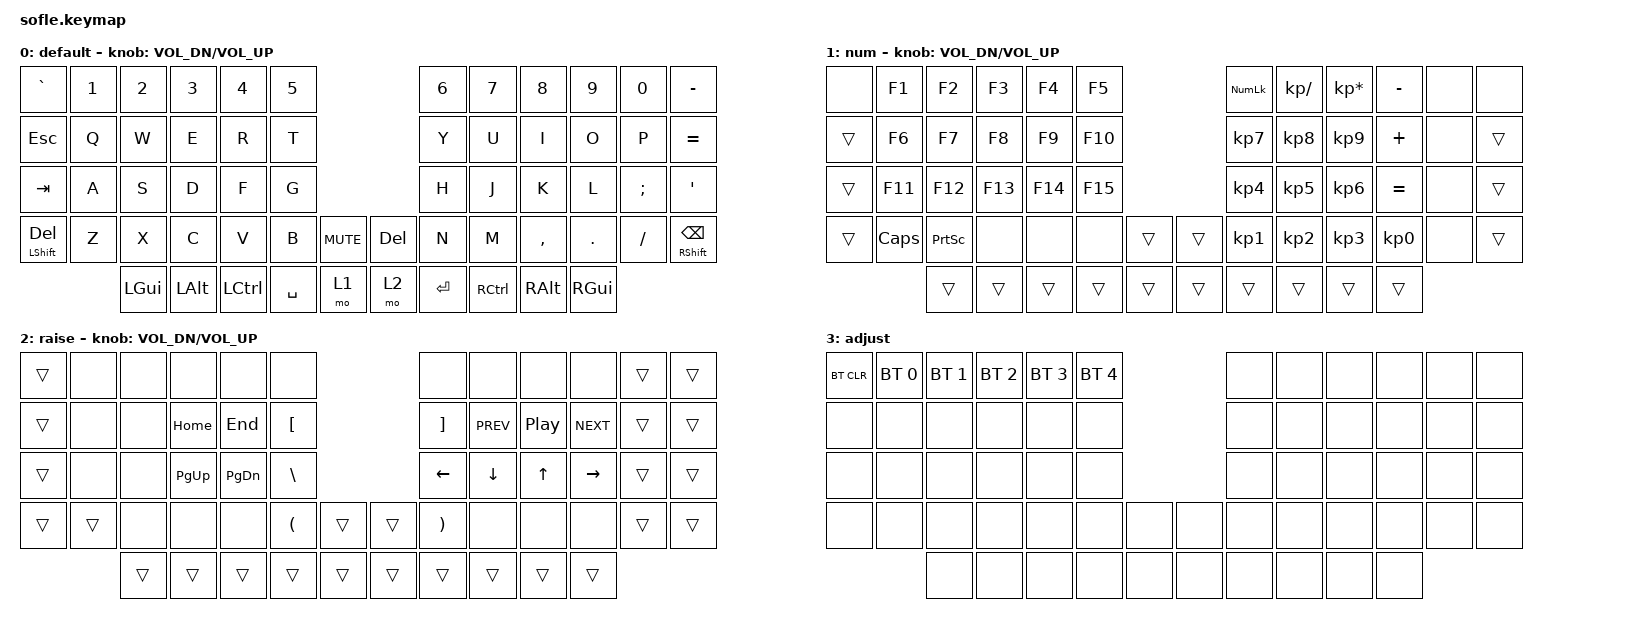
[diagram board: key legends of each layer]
/*
 * Copyright (c) 2020 The ZMK Contributors
 *
 * SPDX-License-Identifier: MIT
 */

#include <behaviors.dtsi>
#include <dt-bindings/zmk/bt.h>
#include <dt-bindings/zmk/keys.h>

#define BASE 0
#define LOWER 1
#define RAISE 2
#define ADJUST 3

/ {
    // Activate ADJUST layer by pressing raise and lower

    conditional_layers {
        compatible = "zmk,conditional-layers";

        adjust_layer {
            if-layers = <LOWER RAISE>;
            then-layer = <ADJUST>;
        };
    };

    combos {
        compatible = "zmk,combos";

        l_br {
            bindings = <&kp LEFT_BRACKET>;
            key-positions = <16 17>;
        };

        r_br {
            bindings = <&kp RIGHT_BRACKET>;
            key-positions = <18 19>;
        };

        l_pr {
            bindings = <&kp LEFT_PARENTHESIS>;
            key-positions = <28 29>;
        };

        r_pr {
            bindings = <&kp RIGHT_PARENTHESIS>;
            key-positions = <30 31>;
        };
    };

    keymap {
        compatible = "zmk,keymap";

        base_layer {
            display-name = "default";

            // ------------------------------------------------------------------------------------------------------------
            // |   `   |  1  |  2  |  3   |  4   |  5   |                   |  6   |  7    |  8    |  9   |   0   | DEL   |
            // |  ESC  |  Q  |  W  |  E   |  R   |  T   |                   |  Y   |  U    |  I    |  O   |   P   | BKSPC |
            // |  TAB  |  A  |  S  |  D   |  F   |  G   |                   |  H   |  J    |  K    |  L   |   ;   |   '   |
            // | SHIFT |  Z  |  X  |  C   |  V   |  B   |  MUTE  |  | PP    |  N   |  M    |  ,    |  .   |   /   | SHIFT |
            //               | GUI | ALT  | CTRL | LOWER|  ENTER |  | SPACE | RAISE| CTRL  | ALT   | GUI  |

            bindings = <
&kp GRAVE         &kp N1  &kp N2    &kp N3    &kp N4     &kp N5                               &kp N6     &kp N7     &kp N8     &kp N9    &kp N0    &kp MINUS
&kp ESC           &kp Q   &kp W     &kp E     &kp R      &kp T                                &kp Y      &kp U      &kp I      &kp O     &kp P     &kp EQUAL
&kp TAB           &kp A   &kp S     &kp D     &kp F      &kp G                                &kp H      &kp J      &kp K      &kp L     &kp SEMI  &kp SQT
&mt LSHFT DELETE  &kp Z   &kp X     &kp C     &kp V      &kp B      &kp C_MUTE    &kp DELETE  &kp N      &kp M      &kp COMMA  &kp DOT   &kp FSLH  &mt RSHFT BACKSPACE
                          &kp LGUI  &kp LALT  &kp LCTRL  &kp SPACE  &mo 1         &mo 2       &kp ENTER  &kp RCTRL  &kp RALT   &kp RGUI
            >;

            sensor-bindings = <&inc_dec_kp C_VOL_DN C_VOL_UP>;
        };

        num_layer {
            display-name = "num";

            // ------------------------------------------------------------------------------------------------------------
            // |       |  F1 |  F2 |  F3  |  F4  |  F5  |                   |  F6  |  F7   |  F8   |  F9  |  F10  |  F11  |
            // |   `   |  1  |  2  |  3   |  4   |  5   |                   |  6   |  7    |  8    |  9   |   0   |  F12  |
            // |       |  !  |  @  |  #   |  $   |  %   |                   |  ^   |  &    |  *    |  (   |   )   |   |   |
            // |       |  =  |  -  |  +   |  {   |  }   |        |  |       |  [   |  ]    |  ;    |  :   |   \   |       |
            //               |     |      |      |      |        |  |       |      |       |       |      |

            bindings = <
&none   &kp F1    &kp F2           &kp F3   &kp F4   &kp F5                     &kp KP_NUMLOCK  &kp KP_SLASH  &kp KP_MULTIPLY  &kp MINUS  &none  &none
&trans  &kp F6    &kp F7           &kp F8   &kp F9   &kp F10                    &kp KP_N7       &kp KP_N8     &kp KP_N9        &kp PLUS   &none  &trans
&trans  &kp F11   &kp F12          &kp F13  &kp F14  &kp F15                    &kp KP_N4       &kp KP_N5     &kp KP_N6        &kp EQUAL  &none  &trans
&trans  &kp CAPS  &kp PRINTSCREEN  &none    &none    &none    &trans    &trans  &kp KP_N1       &kp KP_N2     &kp KP_N3        &kp KP_N0  &none  &trans
                  &trans           &trans   &trans   &trans   &trans    &trans  &trans          &trans        &trans           &trans
            >;

            sensor-bindings = <&inc_dec_kp C_VOL_DN C_VOL_UP>;
        };

        raise_layer {
            display-name = "raise";

            // ------------------------------------------------------------------------------------------------------------
            // |       |      |      |       |       |      |                |      |      |       |      |       |       |
            // |       | INS  | PSCR | GUI   |       |      |                |      |      |       |      |       |       |
            // |       | ALT  | CTRL | SHIFT |       | CAPS |                |  <-  |  v   |   v   |  ->  |  DEL  | BKSPC |
            // |       | UNDO | CUT  | COPY  | PASTE |      |      |  |      |      |      |       |      |       |       |
            //                |      |       |       |      |      |  |      |      |      |       |      |

            bindings = <
&trans  &none   &none   &none        &none          &none                                   &none                  &none       &none             &none       &trans  &trans
&trans  &none   &none   &kp HOME     &kp END        &kp LEFT_BRACKET                        &kp RIGHT_BRACKET      &kp C_PREV  &kp C_PLAY_PAUSE  &kp C_NEXT  &trans  &trans
&trans  &none   &none   &kp PAGE_UP  &kp PAGE_DOWN  &kp BACKSLASH                           &kp LEFT               &kp DOWN    &kp UP            &kp RIGHT   &trans  &trans
&trans  &trans  &none   &none        &none          &kp LEFT_PARENTHESIS  &trans    &trans  &kp RIGHT_PARENTHESIS  &none       &none             &none       &trans  &trans
                &trans  &trans       &trans         &trans                &trans    &trans  &trans                 &trans      &trans            &trans
            >;

            sensor-bindings = <&inc_dec_kp C_VOL_DN C_VOL_UP>;
        };

        adjust_layer {
            // ------------------------------------------------------------------------------------------
            // | BTCLR | BT1 | BT2 | BT3 | BT4 | BT5 |              |     |     |     |     |     |     |
            // |       |     |     |     |     |     |              |     |     |     |     |     |     |
            // |       |     |     |     |     |     |              |     |     |     |     |     |     |
            // |       |     |     |     |     |     |     |  |     |     |     |     |     |     |     |
            //               |     |     |     |     |     |  |     |     |     |     |     |

            display-name = "adjust";
            bindings = <
&bt BT_CLR  &bt BT_SEL 0  &bt BT_SEL 1  &bt BT_SEL 2  &bt BT_SEL 3  &bt BT_SEL 4                  &none  &none  &none  &none  &none  &none
&none       &none         &none         &none         &none         &none                         &none  &none  &none  &none  &none  &none
&none       &none         &none         &none         &none         &none                         &none  &none  &none  &none  &none  &none
&none       &none         &none         &none         &none         &none         &none    &none  &none  &none  &none  &none  &none  &none
                          &none         &none         &none         &none         &none    &none  &none  &none  &none  &none
            >;
        };
    };
};
